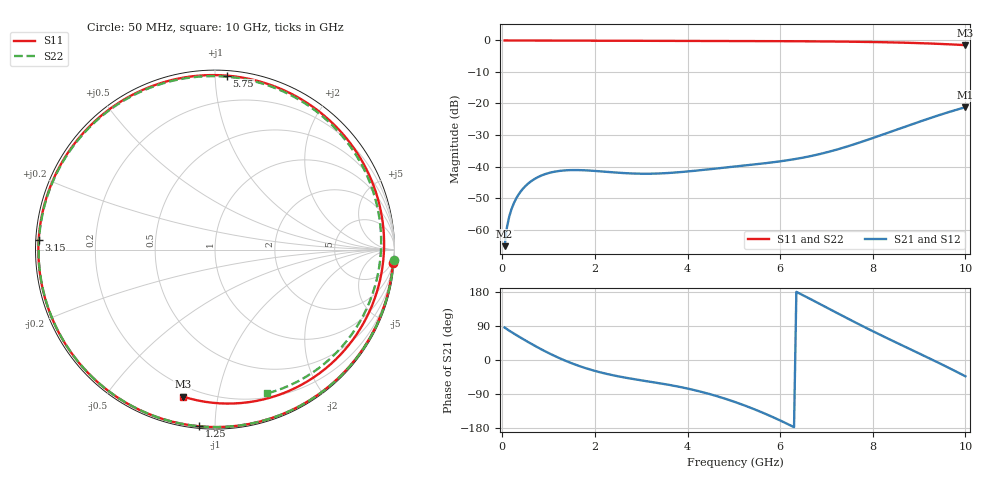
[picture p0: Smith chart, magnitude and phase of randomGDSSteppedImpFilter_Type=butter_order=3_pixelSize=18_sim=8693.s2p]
! freq	dB(S11)	phase(S11)	dB(S12)	phase(S12)
!  dB(S21)	phase(S21)	dB(S22)	phase(S22)
!S-par simulation data
#  GHz  S  DB  R 50
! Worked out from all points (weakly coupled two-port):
!   200 points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, 50 MHz to 10 GHz, reference 50 ohm
!   highest |S21| = -21.19 dB at 10 GHz (marker M1); lowest = -65.2 dB at 50 MHz (marker M2)
!   lowest |S11| = -1.5 dB at 10 GHz (marker M3), VSWR 11.35, Z = 7.22 - j39.7 ohm
!   |S11| at or under -10 dB: nowhere
!   |S22| runs from -1.4 to 0.0 dB; largest |S21 - S12| = 0
!   S11 on the Smith chart (normalised r, x): 50 MHz: 2, -27; 1.25 GHz: 0.01, -0.91; 3.15 GHz: 0.01, +0.03; 5.75 GHz: 0.03, +1.07; 10 GHz: 0.14, -0.79
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0.05  -0.05 -4.3  -65.15 85.6  -65.15 85.6  -0.03 -3.4
0.1  -0.05 -8.5  -59.20 81.4  -59.20 81.4  -0.04 -7.0
0.15  -0.05 -12.8  -55.77 77.4  -55.77 77.4  -0.04 -10.6
0.25  -0.05 -21.2  -51.54 69.7  -51.54 69.7  -0.04 -17.6
0.4  -0.06 -33.6  -47.80 58.7  -47.80 58.7  -0.05 -28.1
0.8  -0.08 -64.7  -43.08 31.0  -43.08 31.0  -0.07 -54.6
1.25  -0.10 -95.1  -41.31 4.0  -41.31 4.0  -0.09 -81.5
1.75  -0.12 -123.3  -41.12 -19.5  -41.12 -19.5  -0.11 -107.3
2.4  -0.13 -153.6  -41.80 -40.6  -41.80 -40.6  -0.12 -135.5
3.15  -0.14 176.9  -42.23 -56.5  -42.23 -56.5  -0.14 -162.9
3.4  -0.15 167.9  -42.14 -61.4  -42.14 -61.4  -0.14 -171.2
4.2  -0.17 140.0  -41.23 -81.0  -41.23 -81.0  -0.17 163.6
5.05  -0.21 110.9  -39.91 -111.9  -39.91 -111.9  -0.21 137.7
5.75  -0.25 86.0  -38.78 -145.7  -38.78 -145.7  -0.24 116.0
6.2  -0.28 69.4  -37.88 -171.2  -37.88 -171.2  -0.27 101.4
6.7  -0.33 50.2  -36.52 157.9  -36.52 157.9  -0.31 84.3
7.55  -0.45 15.6  -33.14 103.7  -33.14 103.7  -0.41 52.4
8.35  -0.64 -19.3  -29.15 55.2  -29.15 55.2  -0.56 18.2
8.75  -0.78 -37.8  -27.08 31.9  -27.08 31.9  -0.68 -0.8
9.15  -0.97 -57.0  -25.06 8.6  -25.06 8.6  -0.85 -21.2
9.6  -1.24 -80.1  -22.90 -18.1  -22.90 -18.1  -1.10 -46.1
10  -1.53 -102.4  -21.19 -43.0  -21.19 -43.0  -1.39 -70.0
